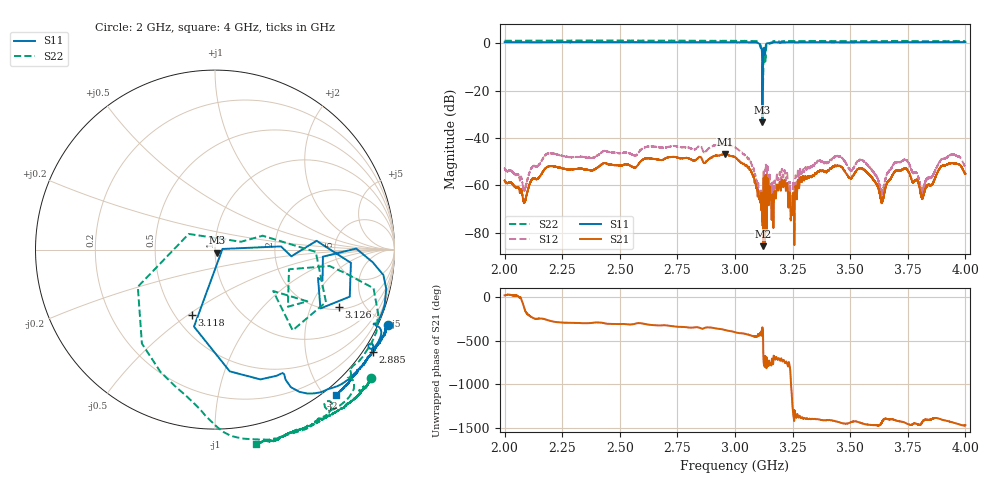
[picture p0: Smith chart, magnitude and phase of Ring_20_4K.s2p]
!Agilent Technologies,N5230C,SG49000117,A.08.50.07
!Agilent N5230C: A.08.50.07
!Date: Tuesday, May 07, 2024 00:22:00
!Correction: S11(Full 2 Port(1,2))
!S21(Full 2 Port(1,2))
!S12(Full 2 Port(1,2))
!S22(Full 2 Port(1,2))
!S2P File: Measurements: S11, S21, S12, S22:
# Hz S  MA  R 50
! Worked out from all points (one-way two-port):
!   20001 points, 2 GHz to 4 GHz, reference 50 ohm
!   highest |S21| = -46.85 dB at 2.956 GHz (marker M1); lowest = -85.7 dB at 3.122 GHz (marker M2)
!   lowest |S11| = -33.5 dB at 3.119 GHz (marker M3), VSWR 1.04, Z = 51.1 - j1.84 ohm
!   |S11| at or under -10 dB: 3.118402 GHz to 3.12028 GHz (1.878 MHz wide, 0.0602 % of centre)
!   |S22| runs from -19.8 to 1.2 dB; largest |S21 - S12| = 0.004
!   S11 on the Smith chart (normalised r, x): 2 GHz: -0.60, -4.72; 2.885 GHz: -0.29, -3.37; 3.118 GHz: 0.61, -0.51; 3.126 GHz: 2.12, -3.24; 4 GHz: -0.15, -2.12
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2e9  1.052 -23.6  0.001264 20.0  0.002283 1.2  1.127 -39.3
2.0868e9  1.051 -24.3  0.000445 -136.5  0.0007755 -155.8  1.131 -40.4
2.1845e9  1.049 -24.9  0.002441 98.5  0.004645 79.3  1.137 -41.8
2.3334e9  1.058 -26.5  0.002237 61.7  0.003992 42.4  1.134 -44.4
2.6667e9  1.053 -29.5  0.003479 35.6  0.006378 11.9  1.134 -50.0
2.8854e9  1.049 -32.9  0.003533 12.5  0.006015 -12.2  1.123 -55.6
2.9562e9  1.046 -34.4  0.004543 -16.7  0.007255 -42.7  1.119 -57.9
3e9  1.044 -35.7  0.003931 -42.3  0.006313 -67.8  1.119 -59.9
3.0985e9  1.015 -49.1  0.0005857 -80.3  0.0008102 -110.2  1.082 -77.6
3.1182e9  0.3847 -109.7  0.0003149 -55.4  0.0002746 -73.6  0.6444 -130.9
3.1192e9  0.02122 -58.1  0.0004071 4.7  0.0003508 3.3  0.4975 -151.6
3.1219e9  0.4268 -5.0  5.187e-05 104.2  6.677e-05 89.9  0.1512 16.8
3.1264e9  0.7623 -24.9  0.0004799 -17.8  0.0007413 -30.5  0.6837 -35.2
3.1446e9  0.9941 -23.1  0.0008432 -65.6  0.001462 -82.6  1.012 -38.7
3.2495e9  1.045 -34.6  0.0003426 -171.8  0.0005674 163.7  1.112 -58.0
3.3334e9  1.048 -37.2  0.001503 45.6  0.002391 22.2  1.114 -61.4
3.5493e9  1.046 -41.3  0.002293 -4.5  0.003415 -31.1  1.101 -68.1
3.6372e9  1.048 -43.5  0.0004388 5.6  0.0006385 -19.1  1.109 -70.3
3.6667e9  1.049 -44.0  0.001246 40.5  0.001949 13.0  1.109 -71.5
3.7412e9  1.053 -45.6  0.002258 -3.1  0.003416 -32.6  1.115 -73.2
3.813e9  1.05 -46.8  0.0005235 7.3  0.0007388 -20.6  1.099 -75.1
4e9  1.055 -50.4  0.001754 -27.0  0.002472 -56.3  1.109 -78.3
